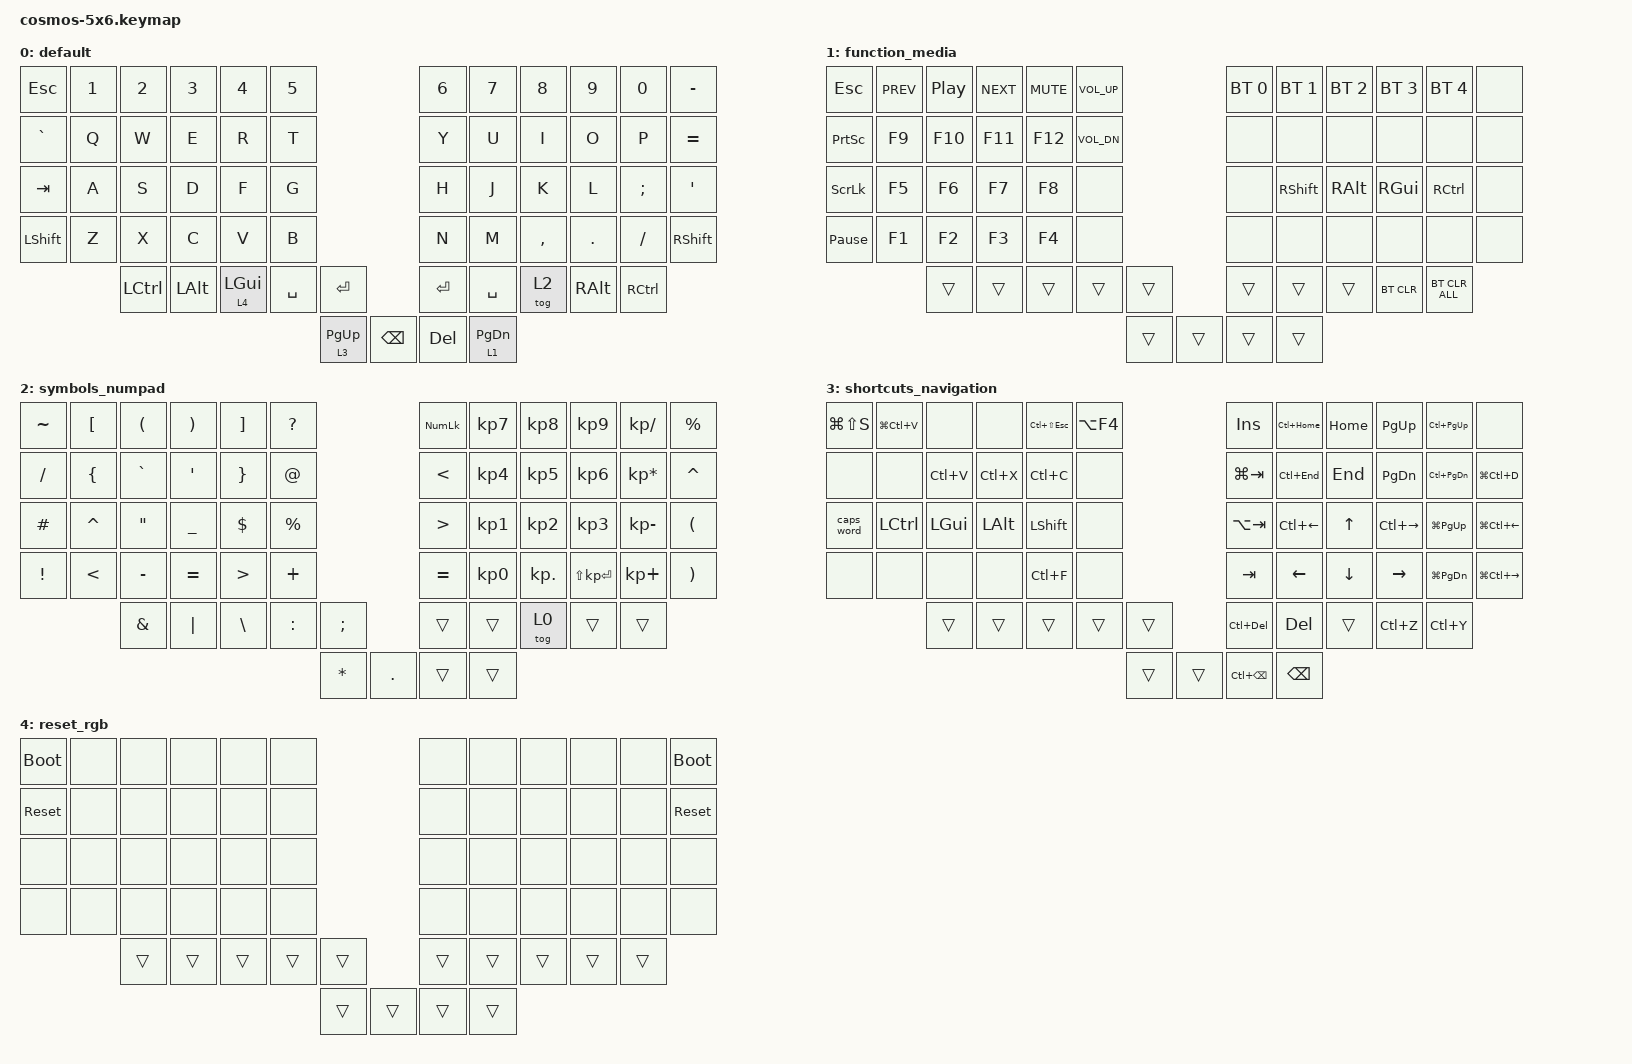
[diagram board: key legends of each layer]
#include <behaviors.dtsi>
#include <dt-bindings/zmk/bt.h>
#include <dt-bindings/zmk/keys.h>

#define DEFAULT 0
#define MAC     1
#define LOWER   2
#define RAISE   3
#define ADJUST  4

#define HYPER(key) LS(LC(LA(LG(key))))
#define MEH(key)   LS(LC(LA(key)))

&sl { release-after-ms = <5000>; };

&kscan0 {
    debounce-press-ms = <30>;
    debounce-release-ms = <30>;
};

/ {
    keymap {
        compatible = "zmk,keymap";

        default {
            bindings = <
&kp ESC     &kp N1  &kp N2     &kp N3        &kp N4  &kp N5                                                                 &kp N6  &kp N7  &kp N8     &kp N9     &kp N0         &kp MINUS
&kp GRAVE   &kp Q   &kp W      &kp E         &kp R   &kp T                                                                  &kp Y   &kp U   &kp I      &kp O      &kp P          &kp EQUAL
&kp TAB     &kp A   &kp S      &kp D         &kp F   &kp G                                                                  &kp H   &kp J   &kp K      &kp L      &kp SEMICOLON  &kp SQT
&kp LSHIFT  &kp Z   &kp X      &kp C         &kp V   &kp B                                                                  &kp N   &kp M   &kp COMMA  &kp DOT    &kp FSLH       &kp RIGHT_SHIFT
                    &kp LCTRL  &kp LEFT_ALT          &lt 4 LGUI  &kp SPACE    &kp ENTER        &kp ENTER   &kp SPACE        &tog 2          &kp RALT   &kp RCTRL
                                                                 &lt 3 PG_UP  &kp BACKSPACE    &kp DELETE  &lt 1 PAGE_DOWN
            >;
        };

        function_media {
            bindings = <
&kp ESC          &kp C_PREV  &kp C_PP  &kp C_NEXT  &kp C_MUTE  &kp C_VOL_UP                                    &bt BT_SEL 0  &bt BT_SEL 1  &bt BT_SEL 2  &bt BT_SEL 3    &bt BT_SEL 4  &none
&kp PRINTSCREEN  &kp F9      &kp F10   &kp F11     &kp F12     &kp C_VOL_DN                                    &none         &none         &none         &none           &none         &none
&kp SCROLLLOCK   &kp F5      &kp F6    &kp F7      &kp F8      &none                                           &none         &kp RSHFT     &kp RALT      &kp RGUI        &kp RCTRL     &none
&kp PAUSE_BREAK  &kp F1      &kp F2    &kp F3      &kp F4      &none                                           &none         &none         &none         &none           &none         &none
                             &trans    &trans                  &trans        &trans  &trans    &trans  &trans  &trans                      &bt BT_CLR    &bt BT_CLR_ALL
                                                                             &trans  &trans    &trans  &trans
            >;
        };

        symbols_numpad {
            bindings = <
&kp TILDE  &kp LBKT        &kp LEFT_PARENTHESIS  &kp RIGHT_PARENTHESIS  &kp RBKT          &kp QUESTION                                                 &kp KP_NUMLOCK    &kp KP_NUMBER_7  &kp KP_N8        &kp KP_N9         &kp KP_DIVIDE    &kp PERCENT
&kp SLASH  &kp LEFT_BRACE  &kp GRAVE             &kp SQT                &kp RIGHT_BRACE   &kp AT_SIGN                                                  &kp LESS_THAN     &kp KP_N4        &kp KP_N5        &kp KP_N6         &kp KP_MULTIPLY  &kp CARET
&kp POUND  &kp CARET       &kp DQT               &kp UNDER              &kp DOLLAR        &kp PERCENT                                                  &kp GREATER_THAN  &kp KP_N1        &kp KP_NUMBER_2  &kp KP_N3         &kp KP_MINUS     &kp LEFT_PARENTHESIS
&kp EXCL   &kp LESS_THAN   &kp MINUS             &kp EQUAL              &kp GREATER_THAN  &kp PLUS                                                     &kp EQUAL         &kp KP_N0        &kp KP_DOT       &kp LS(KP_ENTER)  &kp KP_PLUS      &kp RIGHT_PARENTHESIS
                           &kp AMPERSAND         &kp PIPE                                 &kp BSLH      &kp COLON     &kp SEMICOLON    &trans  &trans  &tog 0                             &trans           &trans
                                                                                                        &kp ASTERISK  &kp PERIOD       &trans  &trans
            >;
        };

        shortcuts_navigation {
            bindings = <
&kp LG(LS(S))  &kp LG(LC(V))  &none      &none      &kp LC(LS(ESCAPE))  &kp LA(F4)                                                      &kp INSERT   &kp LC(HOME)  &kp HOME   &kp PG_UP      &kp LC(PG_UP)  &none
&none          &none          &kp LC(V)  &kp LC(X)  &kp LC(C)           &none                                                           &kp LG(TAB)  &kp LC(END)   &kp END    &kp PG_DN      &kp LC(PG_DN)  &kp LG(LC(D))
&caps_word     &kp LCTRL      &kp LGUI   &kp LALT   &kp LSHIFT          &none                                                           &kp LA(TAB)  &kp LC(LEFT)  &kp UP     &kp LC(RIGHT)  &kp LG(PG_UP)  &kp LG(LC(LEFT))
&none          &none          &none      &none      &kp LC(F)           &none                                                           &kp TAB      &kp LEFT      &kp DOWN   &kp RIGHT      &kp LG(PG_DN)  &kp LG(LC(RIGHT))
                              &trans     &trans                         &trans      &trans  &trans    &kp LC(DEL)        &kp DEL        &trans                     &kp LC(Z)  &kp LC(Y)
                                                                                    &trans  &trans    &kp LC(BACKSPACE)  &kp BACKSPACE
            >;
        };

        reset_rgb {
            bindings = <
&bootloader  &none  &none   &none   &none  &none                                     &none   &none  &none   &none   &none  &bootloader
&sys_reset   &none  &none   &none   &none  &none                                     &none   &none  &none   &none   &none  &sys_reset
&none        &none  &none   &none   &none  &none                                     &none   &none  &none   &none   &none  &none
&none        &none  &none   &none   &none  &none                                     &none   &none  &none   &none   &none  &none
                    &trans  &trans         &trans  &trans  &trans    &trans  &trans  &trans         &trans  &trans
                                                   &trans  &trans    &trans  &trans
            >;
        };
    };
};
